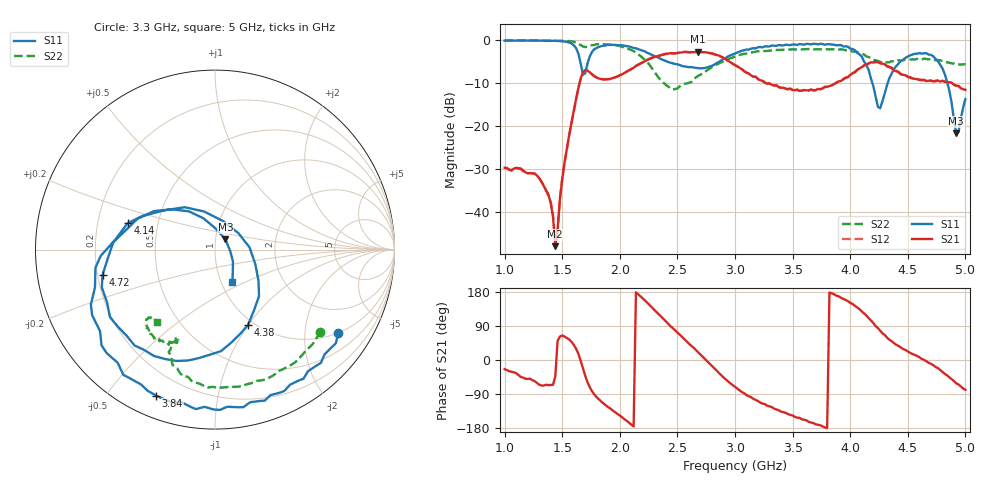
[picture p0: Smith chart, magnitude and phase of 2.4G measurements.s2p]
!Agilent Technologies,E8362C,MY49020251,A.08.50.10
!Agilent E8362C: A.08.50.10
!Date: Wednesday, June 06, 2018 05:48:39
!Correction: S11(Full 2 Port(1,2))
!S21(Full 2 Port(1,2))
!S12(Full 2 Port(1,2))
!S22(Full 2 Port(1,2))
!S2P File: Measurements: S11, S21, S12, S22:
# Hz S  RI  R 50
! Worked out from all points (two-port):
!   201 points, 1 GHz to 5 GHz, reference 50 ohm
!   highest |S21| = -2.83 dB at 2.68 GHz (marker M1); lowest = -48.0 dB at 1.44 GHz (marker M2)
!   |S21| within 3 dB of the highest: 2.16 GHz to 2.994 GHz (833.6 MHz wide, 32.3 % of centre); 4.136 GHz to 4.303 GHz (166.5 MHz wide, 3.95 % of centre)
!   lowest |S11| = -21.8 dB at 4.92 GHz (marker M3), VSWR 1.18, Z = 55.7 + j6.42 ohm
!   |S11| at or under -10 dB: 4.191 GHz to 4.327 GHz (135.6 MHz wide, 3.18 % of centre); 4.843 GHz to end of sweep
!   |S22| runs from -11.6 to -0.2 dB; largest |S21 - S12| = 0.012
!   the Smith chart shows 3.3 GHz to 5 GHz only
!   S11 on the Smith chart (normalised r, x): 3.3 GHz: 0.98, -2.95; 3.84 GHz: 0.10, -0.67; 4.14 GHz: 0.33, +0.13; 4.38 GHz: 0.94, -1.00; 4.72 GHz: 0.22, -0.11; 5 GHz: 1.13, -0.42
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1e9  0.5055 0.8297  0.0297 -0.0133  0.0297 -0.0134  0.4646 0.8557
1.3e9  0.9496 0.2038  0.0104 -0.0224  0.0111 -0.0219  0.8597 0.4556
1.44e9  0.9472 -0.1907  0.00292 -0.00272  0.00318 -0.00309  0.9466 0.1971
1.62e9  0.1575 -0.7813  0.1761 0.102  0.1736 0.1009  0.9053 -0.2077
1.68e9  -0.3895 0.0345  0.3878 -0.1524  0.3856 -0.1529  0.7851 -0.2783
1.72e9  0.1768 0.4998  0.2272 -0.3714  0.2284 -0.3692  0.7763 -0.2809
1.84e9  0.8347 -0.0964  -0.1183 -0.3265  -0.116 -0.3248  0.7152 -0.5122
2.1e9  0.4073 -0.7062  -0.4496 -0.0752  -0.4475 -0.075  -0.00147 -0.7557
2.34e9  -0.0992 -0.6029  -0.3281 0.5611  -0.3238 0.5586  -0.3561 0.00874
2.68e9  -0.4634 0.0541  0.6774 0.2505  0.675 0.2515  0.284 0.2506
3e9  0.5825 0.3715  0.1652 -0.478  0.1652 -0.4788  0.6345 -0.0302
3.3e9  0.6858 -0.4669  -0.1652 -0.2611  -0.1662 -0.2623  0.5874 -0.4569
3.68e9  0.0291 -0.8928  -0.2511 -0.0607  -0.2478 -0.0624  0.2356 -0.7304
3.84e9  -0.3282 -0.8134  -0.2939 0.0211  -0.2934 0.0208  0.0621 -0.7669
4.14e9  -0.4871 0.1471  -0.237 0.4556  -0.2437 0.4523  -0.2451 -0.5904
4.26e9  0.1299 0.0922  0.1161 0.5164  0.1065 0.5222  -0.2184 -0.5041
4.34e9  0.2453 -0.2595  0.2869 0.3871  0.2841 0.3826  -0.2104 -0.5037
4.38e9  0.1852 -0.4187  0.3098 0.3061  0.3035 0.3142  -0.2097 -0.5146
4.54e9  -0.2755 -0.6102  0.3402 0.0973  0.3413 0.0971  -0.2875 -0.514
4.72e9  -0.6267 -0.1407  0.3171 -0.0772  0.321 -0.0731  -0.3649 -0.4597
4.92e9  0.0576 0.0572  0.1397 -0.2563  0.1415 -0.2518  -0.3512 -0.3731
5e9  0.0968 -0.1795  0.0511 -0.2556  0.0483 -0.2568  -0.3254 -0.4007
